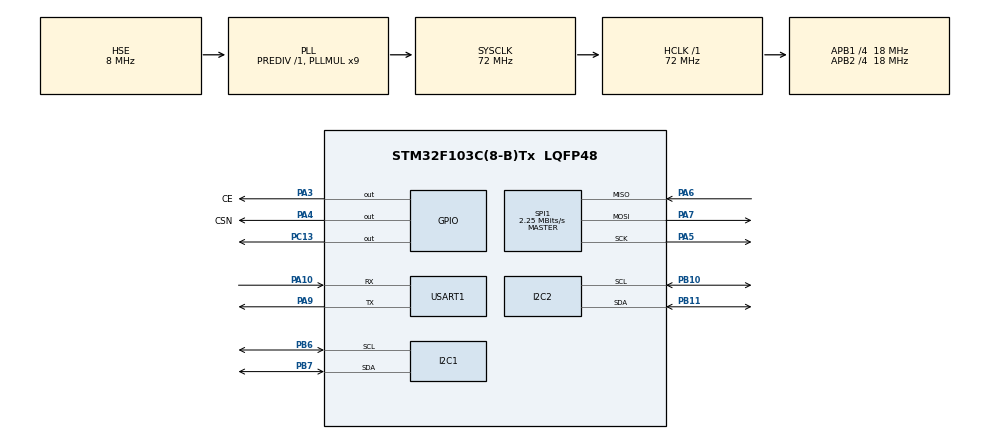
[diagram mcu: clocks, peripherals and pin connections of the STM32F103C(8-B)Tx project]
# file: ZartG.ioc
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I2C2.I2C_Mode=I2C_Fast
Mcu.Family=STM32F1
Mcu.Name=STM32F103C(8-B)Tx
Mcu.Package=LQFP48
NVIC.I2C2_EV_IRQn=true\:0\:0\:false\:false\:true\:true\:true\:true
NVIC.PriorityGroup=NVIC_PRIORITYGROUP_4
NVIC.TIM2_IRQn=true\:0\:0\:false\:false\:true\:true\:true\:true
PA10.Mode=Asynchronous
PA10.Signal=USART1_RX
PA13.Mode=Serial_Wire
PA13.Signal=SYS_JTMS-SWDIO
PA14.Mode=Serial_Wire
PA14.Signal=SYS_JTCK-SWCLK
PA3.GPIO_Label=CE
PA3.Signal=GPIO_Output
PA4.GPIO_Label=CSN
PA4.Signal=GPIO_Output
PA5.Mode=Full_Duplex_Master
PA5.Signal=SPI1_SCK
PA6.Mode=Full_Duplex_Master
PA6.Signal=SPI1_MISO
PA7.Mode=Full_Duplex_Master
PA7.Signal=SPI1_MOSI
PA9.Mode=Asynchronous
PA9.Signal=USART1_TX
PB10.Mode=I2C
PB10.Signal=I2C2_SCL
PB11.Mode=I2C
PB11.Signal=I2C2_SDA
PB6.Mode=I2C
PB6.Signal=I2C1_SCL
PB7.Mode=I2C
PB7.Signal=I2C1_SDA
PC13-TAMPER-RTC.Signal=GPIO_Output
PD0-OSC_IN.Mode=HSE-External-Oscillator
PD0-OSC_IN.Signal=RCC_OSC_IN
PD1-OSC_OUT.Mode=HSE-External-Oscillator
PD1-OSC_OUT.Signal=RCC_OSC_OUT
ProjectManager.HeapSize=0x200
ProjectManager.StackSize=0x400
ProjectManager.TargetToolchain=STM32CubeIDE
RCC.AHBFreq_Value=72000000
RCC.APB1CLKDivider=RCC_HCLK_DIV4
RCC.APB1Freq_Value=18000000
RCC.APB1TimFreq_Value=36000000
RCC.APB2CLKDivider=RCC_HCLK_DIV4
RCC.APB2Freq_Value=18000000
RCC.APB2TimFreq_Value=36000000
RCC.HCLKFreq_Value=72000000
RCC.PLLMUL=RCC_PLL_MUL9
RCC.PLLSourceVirtual=RCC_PLLSOURCE_HSE
RCC.SYSCLKFreq_VALUE=72000000
RCC.SYSCLKSource=RCC_SYSCLKSOURCE_PLLCLK
RCC.USBFreq_Value=72000000
SPI1.BaudRatePrescaler=SPI_BAUDRATEPRESCALER_8
SPI1.CalculateBaudRate=2.25 MBits/s
SPI1.Direction=SPI_DIRECTION_2LINES
SPI1.Mode=SPI_MODE_MASTER
SPI1.VirtualType=VM_MASTER
TIM2.AutoReloadPreload=TIM_AUTORELOAD_PRELOAD_ENABLE
TIM2.Period=20
TIM2.Prescaler=35999
TIM2.TIM_MasterOutputTrigger=TIM_TRGO_UPDATE
USART1.VirtualMode=VM_ASYNC
VP_TIM2_VS_ClockSourceINT.Mode=Internal
board=custom

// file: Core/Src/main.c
/* USER CODE BEGIN Header */
/**
  ******************************************************************************
  * @file           : main.c
  * @brief          : Main program body
  ******************************************************************************
  * @attention
  *
  * Copyright (c) 2023 STMicroelectronics.
  * All rights reserved.
  *
  * This software is licensed under terms that can be found in the LICENSE file
  * in the root directory of this software component.
  * If no LICENSE file comes with this software, it is provided AS-IS.
  *
  ******************************************************************************
  */
/* USER CODE END Header */
#include "main.h"

/* USER CODE BEGIN Includes */
#include "mpu9250driver.h"
#include <math.h>
#include "MY_NRF24.h"
#include "AHT10.h"
/* USER CODE END Includes */

I2C_HandleTypeDef hi2c1;
I2C_HandleTypeDef hi2c2;

SPI_HandleTypeDef hspi1;

TIM_HandleTypeDef htim2;

UART_HandleTypeDef huart1;

/* USER CODE BEGIN PV */
struct RawData
{
    int16_t ax, ay, az, gx, gy, gz;
    uint16_t temp;
} rawData;

struct SensorData
{
    float ax, ay, az, gx, gy, gz;
    float temp;
} sensorData;

struct GyroCal
{
    float x, y, z;
} gyroCal;
struct Araba
{
    int tiltx, tiltz, hiz, temp;
} araba;

char PAKET[20],RXPAKET[4];
uint64_t TxpipeAddrs =0xF0F0F0F0E1LL;;
uint64_t RxpipeAddrs = 0xC2C2C2C2C2LL;
bool SEND,REC;
// FOR AHT10
struct{
	float nem;
	float sicaklik;
}veri;
/* USER CODE END PV */

void SystemClock_Config(void);
static void MX_GPIO_Init(void);
static void MX_USART1_UART_Init(void);
static void MX_TIM2_Init(void);
static void MX_I2C1_Init(void);
static void MX_I2C2_Init(void);
static void MX_SPI1_Init(void);

/* USER CODE BEGIN 0 */

float gxx,gzz,vi,viy;
uint8_t SAYAC;
void HAL_TIM_PeriodElapsedCallback(TIM_HandleTypeDef* htim)
{
	if(htim == &htim2)
	{
		mpu_measure();
		float accelPitch = atan2(sensorData.ax, sensorData.az) * RAD2DEG;
		gxx = 0.98 * (gxx + (sensorData.gy+vi) * 0.01) + (1 - 0.98) * accelPitch;
		vi = sensorData.gy;
		float accelRoll = atan2(sensorData.ay, sensorData.ax) * RAD2DEG;
		gzz = 0.98 * (gzz + (sensorData.gz+viy) * 0.01) + (1 - 0.98) * accelRoll;
		viy = sensorData.gz;
		if(SAYAC == 10)
		{
			SAYAC = 0;
			AHT10read();
		}else if(SAYAC == 5)
		{
			AHT10measure();
			SAYAC++;
		}else
		{
			SAYAC++;
		}
	}
}

/* USER CODE END 0 */

int main(void)
{

  /* MCU Configuration--------------------------------------------------------*/

  /* Reset of all peripherals, Initializes the Flash interface and the Systick. */
  HAL_Init();

  /* Configure the system clock */
  SystemClock_Config();

  /* Initialize all configured peripherals */
  MX_GPIO_Init();
  MX_USART1_UART_Init();
  MX_TIM2_Init();
  MX_I2C1_Init();
  MX_I2C2_Init();
  MX_SPI1_Init();
  /* USER CODE BEGIN 2 */

  NRF24_begin(GPIOA, CSN_Pin, CE_Pin, hspi1);
  NRF24_setPayloadSize(20);
  NRF24_openWritingPipe(TxpipeAddrs);
  NRF24_setAutoAck(false);
  NRF24_setChannel(120);
  beginmpu();
  calibrate_gyro();
  AHT10enableSensor();
  HAL_TIM_Base_Start_IT(&htim2);
  /* USER CODE END 2 */

  /* Infinite loop */
  while (1)
  {

    /* USER CODE BEGIN 3 */
	  sprintf(PAKET,"#%d#%d#%d#%d",(int)gxx,(int)gzz,(int)(veri.sicaklik+sensorData.temp)/2,(int)sensorData.temp);
	  SEND = NRF24_write(PAKET, sizeof(PAKET));
	  HAL_Delay(20);

  }
  /* USER CODE END 3 */
}

void SystemClock_Config(void)
{
  RCC_OscInitTypeDef RCC_OscInitStruct = {0};
  RCC_ClkInitTypeDef RCC_ClkInitStruct = {0};

  /** Initializes the RCC Oscillators according to the specified parameters
  * in the RCC_OscInitTypeDef structure.
  */
  RCC_OscInitStruct.OscillatorType = RCC_OSCILLATORTYPE_HSE;
  RCC_OscInitStruct.HSEState = RCC_HSE_ON;
  RCC_OscInitStruct.HSEPredivValue = RCC_HSE_PREDIV_DIV1;
  RCC_OscInitStruct.HSIState = RCC_HSI_ON;
  RCC_OscInitStruct.PLL.PLLState = RCC_PLL_ON;
  RCC_OscInitStruct.PLL.PLLSource = RCC_PLLSOURCE_HSE;
  RCC_OscInitStruct.PLL.PLLMUL = RCC_PLL_MUL9;
  if (HAL_RCC_OscConfig(&RCC_OscInitStruct) != HAL_OK)
  {
    Error_Handler();
  }

  /** Initializes the CPU, AHB and APB buses clocks
  */
  RCC_ClkInitStruct.ClockType = RCC_CLOCKTYPE_HCLK|RCC_CLOCKTYPE_SYSCLK
                              |RCC_CLOCKTYPE_PCLK1|RCC_CLOCKTYPE_PCLK2;
  RCC_ClkInitStruct.SYSCLKSource = RCC_SYSCLKSOURCE_PLLCLK;
  RCC_ClkInitStruct.AHBCLKDivider = RCC_SYSCLK_DIV1;
  RCC_ClkInitStruct.APB1CLKDivider = RCC_HCLK_DIV4;
  RCC_ClkInitStruct.APB2CLKDivider = RCC_HCLK_DIV4;

  if (HAL_RCC_ClockConfig(&RCC_ClkInitStruct, FLASH_LATENCY_2) != HAL_OK)
  {
    Error_Handler();
  }
}

static void MX_I2C1_Init(void)
{

  hi2c1.Instance = I2C1;
  hi2c1.Init.ClockSpeed = 100000;
  hi2c1.Init.DutyCycle = I2C_DUTYCYCLE_2;
  hi2c1.Init.OwnAddress1 = 0;
  hi2c1.Init.AddressingMode = I2C_ADDRESSINGMODE_7BIT;
  hi2c1.Init.DualAddressMode = I2C_DUALADDRESS_DISABLE;
  hi2c1.Init.OwnAddress2 = 0;
  hi2c1.Init.GeneralCallMode = I2C_GENERALCALL_DISABLE;
  hi2c1.Init.NoStretchMode = I2C_NOSTRETCH_DISABLE;
  if (HAL_I2C_Init(&hi2c1) != HAL_OK)
  {
    Error_Handler();
  }

}

static void MX_I2C2_Init(void)
{

  hi2c2.Instance = I2C2;
  hi2c2.Init.ClockSpeed = 400000;
  hi2c2.Init.DutyCycle = I2C_DUTYCYCLE_2;
  hi2c2.Init.OwnAddress1 = 0;
  hi2c2.Init.AddressingMode = I2C_ADDRESSINGMODE_7BIT;
  hi2c2.Init.DualAddressMode = I2C_DUALADDRESS_DISABLE;
  hi2c2.Init.OwnAddress2 = 0;
  hi2c2.Init.GeneralCallMode = I2C_GENERALCALL_DISABLE;
  hi2c2.Init.NoStretchMode = I2C_NOSTRETCH_DISABLE;
  if (HAL_I2C_Init(&hi2c2) != HAL_OK)
  {
    Error_Handler();
  }

}

static void MX_SPI1_Init(void)
{

  /* SPI1 parameter configuration*/
  hspi1.Instance = SPI1;
  hspi1.Init.Mode = SPI_MODE_MASTER;
  hspi1.Init.Direction = SPI_DIRECTION_2LINES;
  hspi1.Init.DataSize = SPI_DATASIZE_8BIT;
  hspi1.Init.CLKPolarity = SPI_POLARITY_LOW;
  hspi1.Init.CLKPhase = SPI_PHASE_1EDGE;
  hspi1.Init.NSS = SPI_NSS_SOFT;
  hspi1.Init.BaudRatePrescaler = SPI_BAUDRATEPRESCALER_8;
  hspi1.Init.FirstBit = SPI_FIRSTBIT_MSB;
  hspi1.Init.TIMode = SPI_TIMODE_DISABLE;
  hspi1.Init.CRCCalculation = SPI_CRCCALCULATION_DISABLE;
  hspi1.Init.CRCPolynomial = 10;
  if (HAL_SPI_Init(&hspi1) != HAL_OK)
  {
    Error_Handler();
  }

}

static void MX_TIM2_Init(void)
{

  TIM_ClockConfigTypeDef sClockSourceConfig = {0};
  TIM_MasterConfigTypeDef sMasterConfig = {0};

  htim2.Instance = TIM2;
  htim2.Init.Prescaler = 35999;
  htim2.Init.CounterMode = TIM_COUNTERMODE_UP;
  htim2.Init.Period = 20;
  htim2.Init.ClockDivision = TIM_CLOCKDIVISION_DIV1;
  htim2.Init.AutoReloadPreload = TIM_AUTORELOAD_PRELOAD_ENABLE;
  if (HAL_TIM_Base_Init(&htim2) != HAL_OK)
  {
    Error_Handler();
  }
  sClockSourceConfig.ClockSource = TIM_CLOCKSOURCE_INTERNAL;
  if (HAL_TIM_ConfigClockSource(&htim2, &sClockSourceConfig) != HAL_OK)
  {
    Error_Handler();
  }
  sMasterConfig.MasterOutputTrigger = TIM_TRGO_UPDATE;
  sMasterConfig.MasterSlaveMode = TIM_MASTERSLAVEMODE_DISABLE;
  if (HAL_TIMEx_MasterConfigSynchronization(&htim2, &sMasterConfig) != HAL_OK)
  {
    Error_Handler();
  }

}

static void MX_USART1_UART_Init(void)
{

  huart1.Instance = USART1;
  huart1.Init.BaudRate = 115200;
  huart1.Init.WordLength = UART_WORDLENGTH_8B;
  huart1.Init.StopBits = UART_STOPBITS_1;
  huart1.Init.Parity = UART_PARITY_NONE;
  huart1.Init.Mode = UART_MODE_TX_RX;
  huart1.Init.HwFlowCtl = UART_HWCONTROL_NONE;
  huart1.Init.OverSampling = UART_OVERSAMPLING_16;
  if (HAL_UART_Init(&huart1) != HAL_OK)
  {
    Error_Handler();
  }

}

static void MX_GPIO_Init(void)
{
  GPIO_InitTypeDef GPIO_InitStruct = {0};

  /* GPIO Ports Clock Enable */
  __HAL_RCC_GPIOC_CLK_ENABLE();
  __HAL_RCC_GPIOD_CLK_ENABLE();
  __HAL_RCC_GPIOA_CLK_ENABLE();
  __HAL_RCC_GPIOB_CLK_ENABLE();

  /*Configure GPIO pin Output Level */
  HAL_GPIO_WritePin(GPIOC, GPIO_PIN_13, GPIO_PIN_RESET);

  /*Configure GPIO pin Output Level */
  HAL_GPIO_WritePin(GPIOA, CE_Pin|CSN_Pin, GPIO_PIN_RESET);

  /*Configure GPIO pin : PC13 */
  GPIO_InitStruct.Pin = GPIO_PIN_13;
  GPIO_InitStruct.Mode = GPIO_MODE_OUTPUT_PP;
  GPIO_InitStruct.Pull = GPIO_NOPULL;
  GPIO_InitStruct.Speed = GPIO_SPEED_FREQ_LOW;
  HAL_GPIO_Init(GPIOC, &GPIO_InitStruct);

  /*Configure GPIO pins : CE_Pin CSN_Pin */
  GPIO_InitStruct.Pin = CE_Pin|CSN_Pin;
  GPIO_InitStruct.Mode = GPIO_MODE_OUTPUT_PP;
  GPIO_InitStruct.Pull = GPIO_NOPULL;
  GPIO_InitStruct.Speed = GPIO_SPEED_FREQ_LOW;
  HAL_GPIO_Init(GPIOA, &GPIO_InitStruct);

}

void Error_Handler(void)
{
  __disable_irq();
  while (1)
  {
  }
}
